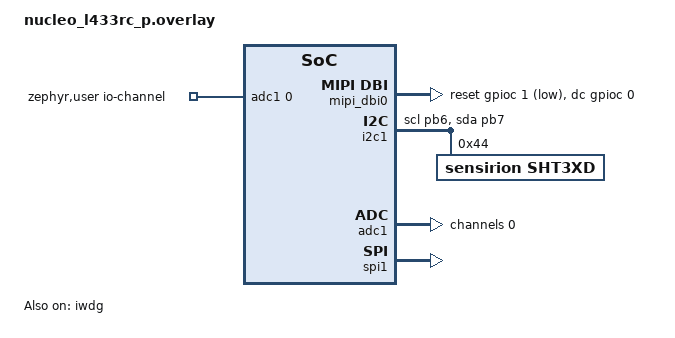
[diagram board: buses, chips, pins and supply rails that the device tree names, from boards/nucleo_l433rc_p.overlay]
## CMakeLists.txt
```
cmake_minimum_required(VERSION 3.20.0)

find_package(Zephyr REQUIRED HINTS $ENV{ZEPHYR_BASE})
project(kellsens)

target_sources(app PRIVATE
  src/main.c
  src/display.c
  src/ui.c
  src/sensor_task.c
  src/display_task.c
)
```

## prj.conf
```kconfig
CONFIG_I2C=y
CONFIG_SENSOR=y
CONFIG_SHT3XD=y
CONFIG_LOG_DEFAULT_LEVEL=3
CONFIG_I2C_LOG_LEVEL_DBG=y
CONFIG_ADC=y
CONFIG_GPIO=y
CONFIG_SPI=y
CONFIG_DISPLAY=y
CONFIG_SSD16XX=y
CONFIG_MIPI_DBI=y
CONFIG_WATCHDOG=y
CONFIG_IWDG_STM32_INITIAL_TIMEOUT=26214

CONFIG_LOG=y

CONFIG_MAIN_STACK_SIZE=4096

CONFIG_UART_CONSOLE=y
CONFIG_CONSOLE=y
CONFIG_SERIAL=y
CONFIG_PRINTK=y


CONFIG_I2C_LOG_LEVEL_DBG=y
CONFIG_SENSOR_LOG_LEVEL_DBG=y
```

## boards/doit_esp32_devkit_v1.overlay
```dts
/ {
	leds {
		compatible = "gpio-leds";

		user_led: led_0 {
			gpios = <&gpio0 5 GPIO_ACTIVE_HIGH>;
			label = "User LED";
		};
	};

	aliases {
		led0 = &user_led;
	};
};

&spi2 {
	status = "okay";
};

&gpio0 {
	status = "okay";
};
```

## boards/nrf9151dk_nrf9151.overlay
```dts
/ {
    chosen {
       // zephyr,display = &epd;
    };

    /*mipi_dbi_epd: mipi-dbi-epd {
        compatible = "zephyr,mipi-dbi-spi";
        spi-dev = <&arduino_spi>;

        dc-gpios = <&gpio0 2 GPIO_ACTIVE_HIGH>; 
        reset-gpios = <&gpio0 3 GPIO_ACTIVE_LOW>;

        write-only;

        #address-cells = <1>;
        #size-cells = <0>;

        epd: epaper@0 {
            compatible = "solomon,ssd1681";
            reg = <0>;

            mipi-max-frequency = <1000000>;

            busy-gpios = <&gpio0 6 GPIO_ACTIVE_HIGH>; 

            width = <200>;
            height = <200>;
            rotation = <0>;
        };
    };*/
};

&arduino_spi {
    status = "okay";
    cs-gpios = <&gpio0 20 GPIO_ACTIVE_LOW>;
};
```

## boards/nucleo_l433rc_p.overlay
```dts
#include <zephyr/dt-bindings/spi/spi.h>
#include <zephyr/dt-bindings/adc/adc.h>
/ {
	zephyr,user {
		io-channels = <&adc1 0>;
	};

	mipi_dbi0: mipi_dbi {
		compatible = "zephyr,mipi-dbi-spi";
		status = "okay";

		spi-dev = <&spi1>;
		dc-gpios = <&gpioc 0 GPIO_ACTIVE_HIGH>;
		reset-gpios = <&gpioc 1 GPIO_ACTIVE_LOW>;

		#address-cells = <1>;
		#size-cells = <0>;
		write-only;
		/* duplex = <SPI_HALF_DUPLEX>; */

		epd_mipi: epd_mipi@0 {
			compatible = "solomon,ssd1681";
			reg = <0>;
			status = "disabled";

			/* zephyr,deferred-init; */

			busy-gpios = <&gpioc 5 GPIO_ACTIVE_HIGH>;
			width = <200>;
			height = <200>;

			mipi-mode = "MIPI_DBI_MODE_SPI_4WIRE";
			mipi-max-frequency = <1000000>;
		};
	};
};

&i2c1 {
    status = "okay";
    pinctrl-0 = <&i2c1_scl_pb6 &i2c1_sda_pb7>;
    pinctrl-names = "default";

    sht3xd@44 {
        compatible = "sensirion,sht3xd";
        reg = <0x44>;
        status = "okay";
    };
};

&adc1 {
    status = "okay";
    #address-cells = <1>;
    #size-cells = <0>;

    channel@0 {
        reg = <0>;
        zephyr,gain = "ADC_GAIN_1";
        zephyr,reference = "ADC_REF_INTERNAL";
        zephyr,acquisition-time = <ADC_ACQ_TIME_DEFAULT>;
        zephyr,resolution = <12>;
    };
};

&spi1 {
	status = "okay";
	cs-gpios = <&gpioa 4 GPIO_ACTIVE_LOW>;
	/delete-property/ dmas;
	/delete-property/ dma-names;
};

&iwdg {
	status = "okay";
};
```

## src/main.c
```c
#include <zephyr/kernel.h>
#include <zephyr/device.h>
#include <zephyr/drivers/gpio.h>
#include <zephyr/sys/printk.h>
#include "display.h"

#define LED0_NODE DT_ALIAS(led0)
int main(void)
{
    const struct gpio_dt_spec led0 = GPIO_DT_SPEC_GET(LED0_NODE, gpios);

    display_init();

    if (!device_is_ready(led0.port)) {
        printk("LED port not ready\n");
        return 0;
    }

    gpio_pin_configure_dt(&led0, GPIO_OUTPUT_INACTIVE);
    printk("Init ok\n");

    while (1) {
        gpio_pin_set_dt(&led0, 1);
        k_sleep(K_SECONDS(1));
        gpio_pin_set_dt(&led0, 0);
        k_sleep(K_SECONDS(1));
    }
}
```

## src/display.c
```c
#include "display.h"

#include <stdint.h>
#include <zephyr/device.h>
#include <zephyr/drivers/gpio.h>
#include <zephyr/drivers/mipi_dbi.h>
#include <zephyr/kernel.h>
#include <zephyr/sys/printk.h>

#define MIPI_DBI_BUS_NODE DT_NODELABEL(mipi_dbi0)
#define MIPI_DBI_DEV_NODE DT_NODELABEL(epd_mipi)
#define EPD_WIDTH    200
#define EPD_HEIGHT   200
#define EPD_BUF_SIZE (EPD_WIDTH * EPD_HEIGHT / 8)

static const struct device *dbi_dev = DEVICE_DT_GET(MIPI_DBI_BUS_NODE);
static const struct gpio_dt_spec epd_busy =
	GPIO_DT_SPEC_GET(MIPI_DBI_DEV_NODE, busy_gpios);

#define EPD_BUSY_TIMEOUT_MS 5000

static int wait_busy(void)
{
	int64_t deadline = k_uptime_get() + EPD_BUSY_TIMEOUT_MS;
	while (gpio_pin_get_dt(&epd_busy) == 1) {
		if (k_uptime_get() > deadline) {
			printk("epd busy timeout\n");
			return -ETIMEDOUT;
		}
		k_msleep(5);
	}
	return 0;
}

static const struct mipi_dbi_config dbi_config =
	MIPI_DBI_CONFIG_DT(
		MIPI_DBI_DEV_NODE,
		SPI_OP_MODE_MASTER |
		SPI_TRANSFER_MSB |
		SPI_WORD_SET(8) |
		SPI_HALF_DUPLEX,
		0
	);

static uint8_t epd_buf[EPD_BUF_SIZE] __aligned(4);

void display_init(void)
{
	if (!device_is_ready(dbi_dev)) {
		printk("mipi dbi not ready\n");
		return;
	}

	if (!device_is_ready(epd_busy.port)) {
		printk("epd busy gpio not ready\n");
		return;
	}
	gpio_pin_configure_dt(&epd_busy, GPIO_INPUT);

	int ret = mipi_dbi_command_write(dbi_dev, &dbi_config, 0x12, NULL, 0);
	printk("ret=%d\n", ret);
	wait_busy();
	k_msleep(200);

	memset(epd_buf, 0x00, EPD_BUF_SIZE);

 	uint8_t val = 0x03;
  ret = mipi_dbi_command_write(dbi_dev, &dbi_config, 0x11, &val, 1);
  printk("0x11 ret=%d\n", ret);

	/* X window: 0..24 */
	uint8_t xwin[2] = {0x00, 0x18};
	ret = mipi_dbi_command_write(dbi_dev, &dbi_config, 0x44, xwin, 2);
	printk("0x44 ret=%d\n", ret);
	/* Y window: 0..199 */
	uint8_t ywin[4] = {0x00, 0x00, 0xC7, 0x00};
	ret = mipi_dbi_command_write(dbi_dev, &dbi_config, 0x45, ywin, 4);
	printk("0x45 ret=%d\n", ret);
	wait_busy();
	k_msleep(200);

	/* X counter = 0 */
	uint8_t xcnt = 0x00;
	ret = mipi_dbi_command_write(dbi_dev, &dbi_config, 0x4E, &xcnt, 1);
	printk("0x4E ret=%d\n", ret);

	/* Y counter = 0 */
	uint8_t ycnt[2] = {0x00, 0x00};
	ret = mipi_dbi_command_write(dbi_dev, &dbi_config, 0x4F, ycnt, 2);
	printk("0x4F ret=%d\n", ret);
}

void epd_clear(void)
{
	memset(epd_buf, 0xFF, EPD_BUF_SIZE);
}

void display_refresh(void)
{
	/* Reset address counters so refresh is idempotent */
	uint8_t xcnt = 0x00;
	int ret = mipi_dbi_command_write(dbi_dev, &dbi_config, 0x4E, &xcnt, 1);
	printk("0x4E ret=%d\n", ret);

	uint8_t ycnt[2] = {0x00, 0x00};
	ret = mipi_dbi_command_write(dbi_dev, &dbi_config, 0x4F, ycnt, 2);
	printk("0x4F ret=%d\n", ret);

	ret = mipi_dbi_command_write(dbi_dev, &dbi_config, 0x24, epd_buf, EPD_BUF_SIZE);
	printk("after 0x24 ret=%d\n", ret);
	wait_busy();
	printk("still alive after 0x24\n");

	/* Display refresh */
	ret = mipi_dbi_command_write(dbi_dev, &dbi_config, 0x20, NULL, 0);
    printk("0x20 ret=%d\n", ret);
	wait_busy();

	printk("done\n");
}

uint8_t *display_get_buf(void)
{
	return epd_buf;
}
```

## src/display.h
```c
#pragma once

#include <stdint.h>

void display_init(void);
void epd_clear(void);
void display_refresh(void);
uint8_t *display_get_buf(void);
```

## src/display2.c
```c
#include <zephyr/device.h>
#include <zephyr/drivers/gpio.h>
#include <zephyr/kernel.h>
#include <zephyr/sys/printk.h>
#include <zephyr/devicetree.h>

#define EPD_NODE DT_NODELABEL(epd)

extern int device_init(const struct device *dev);

void display_init2(void)
{
        // const struct device *epd = DEVICE_DT_GET(EPD_NODE);

    printk("before epd init\n");
    // int ret = device_init(epd);
    // printk("after epd init ret\n");
    const struct device *epd = DEVICE_DT_GET(EPD_NODE);

    if (!device_is_ready(epd)) {
        printk("epd not ready yet, calling device_init()\n");
    }

    printk("before epd init\n");
    int ret = device_init(epd);
    printk("after epd init ret=%d\n", ret);    
}
```

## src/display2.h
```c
#pragma once

void display_init2();
```

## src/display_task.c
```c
#include "display_task.h"
#include "sensor_task.h"
#include "ui.h"

static void display_thread(void *a, void *b, void *c)
{
    static struct sensor_msg last_msg = { .temp = 10, .humidity = 23, .dew_risk = 0, .battery = 4 };

    while (1) {
        k_sleep(K_SECONDS(30));

        struct sensor_msg msg;
        while (k_msgq_get(&sensor_msgq, &msg, K_NO_WAIT) == 0) {
            last_msg = msg;
        }

        ui_set_temperature(last_msg.temp);
        ui_set_humidity(last_msg.humidity);
        ui_set_dew_risk(last_msg.dew_risk);
        ui_set_battery(last_msg.battery);
        printk("render: temp=%d hum=%d risk=%d bat=%d\n",
       last_msg.temp,
       last_msg.humidity,
       last_msg.dew_risk,
       last_msg.battery);
        ui_render();
    }
}

K_THREAD_DEFINE(display_tid, 1024, display_thread, NULL, NULL, NULL, 7, 0, 0);
```

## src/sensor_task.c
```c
#include <zephyr/drivers/sensor.h>
#include <zephyr/drivers/adc.h>
#include <zephyr/drivers/i2c.h>
#include <zephyr/drivers/watchdog.h>
#include "sensor_task.h"

#define WDT_NODE DT_NODELABEL(iwdg)

K_MSGQ_DEFINE(sensor_msgq, sizeof(struct sensor_msg), 4, 4);

static void sensor_thread(void *a, void *b, void *c)
{
#if DT_NODE_HAS_STATUS(WDT_NODE, okay)
    /* IWDG is auto-armed at boot with CONFIG_IWDG_STM32_INITIAL_TIMEOUT (~26s).
     * Driver has HAS_WDT_NO_CALLBACKS, so channel id 0 is the only one. */
    const struct device *wdt = DEVICE_DT_GET(WDT_NODE);
#endif

        /* Soft reset SHT3x before driver init check */
    const struct device *i2c = DEVICE_DT_GET(DT_NODELABEL(i2c1));
    const struct device *dev = DEVICE_DT_GET_ANY(sensirion_sht3xd);
    printk("sensor thread\n");

    if (!device_is_ready(dev)) {
        printk("sensor not ready, trying soft reset...\n");
        if (device_is_ready(i2c)) {
            uint8_t reset_cmd[2] = {0x30, 0xA2};
            i2c_write(i2c, reset_cmd, sizeof(reset_cmd), 0x44);
            k_msleep(200);
        }
        int ret = device_init(dev);
        printk("device_init ret=%d\n", ret);
    }

    if (!device_is_ready(dev)) {
        printk("sensor device not ready, giving up\n");
        return;
    }
    printk("sensor device ready\n");

    static const struct adc_dt_spec adc_bat =
        ADC_DT_SPEC_GET(DT_PATH(zephyr_user));

    int16_t adc_raw = 0;
    struct adc_sequence adc_seq = {
        .buffer      = &adc_raw,
        .buffer_size = sizeof(adc_raw),
    };

    adc_channel_setup_dt(&adc_bat);
    adc_sequence_init_dt(&adc_bat, &adc_seq);

    while (1) {
        struct sensor_value val_temp, val_hum;
        printk("sensor task\n");
        sensor_sample_fetch(dev);
        sensor_channel_get(dev, SENSOR_CHAN_AMBIENT_TEMP, &val_temp);
        sensor_channel_get(dev, SENSOR_CHAN_HUMIDITY,     &val_hum);

        int h = val_hum.val1;
        int risk = (h < 40) ? 0 :
                   (h < 50) ? 1 :
                   (h < 60) ? 2 :
                   (h < 70) ? 3 :
                   (h < 80) ? 4 : 5;

        adc_read(adc_bat.dev, &adc_seq);

        int32_t mv = adc_raw;
        adc_raw_to_millivolts_dt(&adc_bat, &mv);
        int battery = (mv < 900)  ? 0 :
                      (mv < 1000) ? 1 :
                      (mv < 1100) ? 2 :
                      (mv < 1200) ? 3 : 4;

        printk("tem = %d hum = %d\n", val_temp.val1, h);
        risk = 1;
        battery = 3;

        struct sensor_msg msg = {
            .temp     = val_temp.val1,
            .humidity = val_hum.val1,
            .dew_risk = risk,
            .battery  = battery,
        };

        k_msgq_put(&sensor_msgq, &msg, K_NO_WAIT);

#if DT_NODE_HAS_STATUS(WDT_NODE, okay)
        wdt_feed(wdt, 0);
#endif
        k_sleep(K_SECONDS(10));
    }
}

K_THREAD_DEFINE(sensor_tid, 1024, sensor_thread, NULL, NULL, NULL, 5, 0, 0);
```

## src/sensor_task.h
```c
#pragma once
#include <zephyr/kernel.h>

struct sensor_msg {
    int temp;      /* °C, integer */
    int humidity;  /* %, integer */
    int dew_risk;  /* 0..5 */
    int battery;   /* 0..4 */
};

extern struct k_msgq sensor_msgq;

void sensor_task_start(void);
```

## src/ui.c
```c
#include "ui.h"
#include "display.h"

#include <stdint.h>

/*
 * 5x7 pixel font bitmaps.
 * Each row is a uint8_t: bit4 = col0 (leftmost), bit0 = col4 (rightmost).
 * Index: 0-9 = digits '0'-'9', 10 = 'C', 11 = '%', 15 = '-'
 */
static const uint8_t font_5x7[][7] = {
    /* '0' */ { 0x0E, 0x11, 0x11, 0x11, 0x11, 0x11, 0x0E },
    /* '1' */ { 0x04, 0x0C, 0x04, 0x04, 0x04, 0x04, 0x0E },
    /* '2' */ { 0x0E, 0x11, 0x01, 0x06, 0x08, 0x10, 0x1F },
    /* '3' */ { 0x0E, 0x11, 0x01, 0x06, 0x01, 0x11, 0x0E },
    /* '4' */ { 0x11, 0x11, 0x11, 0x1F, 0x01, 0x01, 0x01 },
    /* '5' */ { 0x1F, 0x10, 0x1E, 0x01, 0x01, 0x11, 0x0E },
    /* '6' */ { 0x0E, 0x10, 0x10, 0x1E, 0x11, 0x11, 0x0E },
    /* '7' */ { 0x1F, 0x01, 0x02, 0x04, 0x04, 0x04, 0x04 },
    /* '8' */ { 0x0E, 0x11, 0x11, 0x0E, 0x11, 0x11, 0x0E },
    /* '9' */ { 0x0E, 0x11, 0x11, 0x0F, 0x01, 0x01, 0x0E },
    /* 'C' */ { 0x0E, 0x11, 0x10, 0x10, 0x10, 0x11, 0x0E },
    /* '%' */ { 0x19, 0x1A, 0x02, 0x04, 0x08, 0x13, 0x03 },
    /* 'D' */ { 0x1E, 0x11, 0x11, 0x11, 0x11, 0x11, 0x1E },
    /* 'P' */ { 0x1E, 0x11, 0x11, 0x1E, 0x10, 0x10, 0x10 },
    /* ':' */ { 0x00, 0x04, 0x04, 0x00, 0x04, 0x04, 0x00 },
    /* '-' */ { 0x00, 0x00, 0x00, 0x1F, 0x00, 0x00, 0x00 },
};

static int g_temp;
static int g_humidity;
static int g_dew_risk;   /* 0..5 */
static int g_battery;    /* 0..4 */

void ui_set_temperature(int temp_c)
{
    g_temp = temp_c;
}

void ui_set_humidity(int humidity_pct)
{
    g_humidity = humidity_pct;
}

void ui_set_dew_risk(int risk)
{
    g_dew_risk = (risk < 0) ? 0 : (risk > 5) ? 5 : risk;
}

void ui_set_battery(int level)
{
    g_battery = (level < 0) ? 0 : (level > 4) ? 4 : level;
}

/* Set a single pixel black in buf (200x200, 1bpp, row-major) */
static void set_pixel(uint8_t *buf, int x, int y)
{
    if (x < 0 || x >= 200 || y < 0 || y >= 200) {
        return;
    }
    int byte_idx = (y * 200 + x) / 8;
    int bit_idx  = 7 - (x % 8);
    buf[byte_idx] &= (uint8_t)~(1 << bit_idx);
}

/* Fill a rectangle black */
static void draw_rect(uint8_t *buf, int x, int y, int w, int h)
{
    int r, c;
    for (r = y; r < y + h; r++) {
        for (c = x; c < x + w; c++) {
            set_pixel(buf, c, r);
        }
    }
}

/* Draw only the border of a rectangle (1px thick) */
static void draw_rect_outline(uint8_t *buf, int x, int y, int w, int h)
{
    draw_rect(buf, x,       y,       w, 1);
    draw_rect(buf, x,       y+h-1,   w, 1);
    draw_rect(buf, x,       y,       1, h);
    draw_rect(buf, x+w-1,   y,       1, h);
}

/* Render one character from font_5x7 at (x, y) with given scale */
static void draw_char(uint8_t *buf, int x, int y, char ch, int scale)
{
    int idx;
    int row, col;

    if (ch >= '0' && ch <= '9') {
        idx = ch - '0';
    } else if (ch == 'C') {
        idx = 10;
    } else if (ch == '%') {
        idx = 11;
    } else if (ch == 'D') {
        idx = 12;
    } else if (ch == 'P') {
        idx = 13;
    } else if (ch == ':') {
        idx = 14;
    } else if (ch == '-') {
        idx = 15;
    } else {
        return;
    }

    for (row = 0; row < 7; row++) {
        uint8_t bits = font_5x7[idx][row];
        for (col = 0; col < 5; col++) {
            if (bits & (uint8_t)(0x10U >> col)) {
                draw_rect(buf,
                          x + col * scale,
                          y + row * scale,
                          scale, scale);
            }
        }
    }
}

/*
 * Draw temperature in range -9..99°C.
 * Negative: '-' + 2 digits. Non-negative: 2 digits (zero-padded).
 * Followed by 4×4 ° rect and 'C' at scale=2.
 */
static void draw_temperature(uint8_t *buf, int x, int y, int value, int scale)
{
    int char_w = 5 * scale;
    int gap = 8;
    int cx = x;

    if (value < 0) {
        draw_char(buf, cx, y, '-', scale);
        cx += char_w + gap;
        value = -value;
    }

    if (value >= 10) {
        draw_char(buf, cx, y, (char)('0' + (value / 10) % 10), scale);
        cx += char_w + gap;
    }
    draw_char(buf, cx, y, (char)('0' + value % 10), scale);
    cx += char_w;

    draw_rect(buf, cx + 5, y, 4, 4);   /* ° symbol */
    cx += 5 + 4 + 2;

    draw_char(buf, cx, y, 'C', 2);
}

/*
 * Draw humidity in range 0..100%.
 * 100 → three digits '1','0','0'. Otherwise 2 digits (zero-padded).
 * Followed by '%' at scale=2.
 */
static void draw_humidity(uint8_t *buf, int x, int y, int value, int scale)
{
    int char_w = 5 * scale;
    int gap = 8;
    int cx = x;

    if (value == 100) {
        draw_char(buf, cx, y, '1', scale);
        cx += char_w + gap;
        draw_char(buf, cx, y, '0', scale);
        cx += char_w + gap;
        draw_char(buf, cx, y, '0', scale);
        cx += char_w;
    } else if (value < 10) {
        draw_char(buf, cx, y, (char)('0' + value), scale);
        cx += char_w;
    } else {
        draw_char(buf, cx, y, (char)('0' + (value / 10) % 10), scale);
        cx += char_w + gap;
        draw_char(buf, cx, y, (char)('0' + value % 10), scale);
        cx += char_w;
    }

    draw_char(buf, cx + 5, y, '%', 2);
}

void ui_render(void)
{
    uint8_t *buf = display_get_buf();

    epd_clear();

    /* --- Battery indicator (top right) --- */
    draw_rect_outline(buf, 120,  7, 62, 18);        /* outer frame  */
    draw_rect(buf, 182, 10,  4, 11);                /* right contact */
    {
        static const int bx[4] = { 122, 135, 148, 161 };
        int i;
        for (i = 0; i < 4; i++) {
            if (i < g_battery) {
                draw_rect(buf, bx[i], 9, 11, 14);
            } else {
                draw_rect_outline(buf, bx[i], 9, 11, 14);
            }
        }
    }

    /* --- Dew risk drop icon (top left, outline) --- */
    draw_rect(buf, 12,  4,  2,  4);
    draw_rect(buf, 10,  8,  2,  3);
    draw_rect(buf, 14,  8,  2,  3);
    draw_rect(buf,  8, 11,  2,  3);
    draw_rect(buf, 16, 11,  2,  3);
    draw_rect(buf,  6, 14,  2,  3);
    draw_rect(buf, 18, 14,  2,  3);
    draw_rect(buf,  5, 17,  2,  4);
    draw_rect(buf, 19, 17,  2,  4);
    draw_rect(buf,  5, 21,  2,  3);
    draw_rect(buf, 19, 21,  2,  3);
    draw_rect(buf,  6, 24,  2,  3);
    draw_rect(buf, 18, 24,  2,  3);
    draw_rect(buf,  8, 27,  2,  3);
    draw_rect(buf, 16, 27,  2,  3);
    draw_rect(buf, 10, 30,  6,  2);

    /* Dew risk segments — fill from bottom up */
    {
        static const int dy[5] = { 154, 126, 98, 70, 42 };
        int i;
        for (i = 0; i < 5; i++) {
            if (i < g_dew_risk) {
                draw_rect(buf, 3, dy[i], 20, 26);
            } else {
                draw_rect_outline(buf, 3, dy[i], 20, 26);
            }
        }
    }

    /* --- Vertical divider --- */
    draw_rect(buf, 28, 2, 1, 196);

    /* Temperature centered in x:29..199 (w=170), y:30..110 (h=80) */
    {
        const int scale = 6;
        int char_w = 5 * scale;
        int gap = 8;
        int abs_temp = (g_temp < 0) ? -g_temp : g_temp;
        int n_chars = (g_temp < 0 ? 1 : 0) + (abs_temp < 10 ? 1 : 2);
        int total_w = n_chars * char_w + (n_chars - 1) * gap
                    + 4 + 2
                    + 5 * 2;
        int x_start = 29 + (170 - total_w) / 2;
        int y_start = 30 + (80 - 7 * scale) / 2;
        draw_temperature(buf, x_start, y_start, g_temp, scale);
    }

    /* Humidity centered in x:29..199 (w=170), y:115..185 (h=70) */
    {
        const int scale = 6;
        int char_w = 5 * scale;
        int gap = 8;
        int n_chars = (g_humidity < 10) ? 1 : (g_humidity == 100) ? 3 : 2;
        int total_w = n_chars * char_w + (n_chars - 1) * gap
                    + 5 * 2;
        int x_start = 29 + (170 - total_w) / 2;
        int y_start = 115 + (70 - 7 * scale) / 2;
        draw_humidity(buf, x_start, y_start, g_humidity, scale);
    }

    display_refresh();
}
```

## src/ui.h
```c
#pragma once

void ui_set_temperature(int temp_c);
void ui_set_humidity(int humidity_pct);
void ui_set_dew_risk(int risk);
void ui_set_battery(int level);
void ui_render(void);
```
